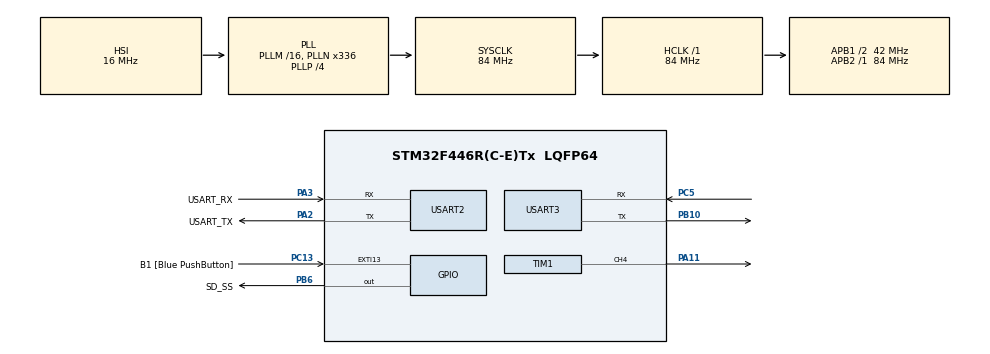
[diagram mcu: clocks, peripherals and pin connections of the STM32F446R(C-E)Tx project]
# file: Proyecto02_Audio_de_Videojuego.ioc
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Mcu.Family=STM32F4
Mcu.Name=STM32F446R(C-E)Tx
Mcu.Package=LQFP64
NVIC.PriorityGroup=NVIC_PRIORITYGROUP_0
NVIC.USART2_IRQn=true\:0\:0\:false\:false\:true\:true\:true\:true
NVIC.USART3_IRQn=true\:0\:0\:false\:false\:true\:true\:true\:true
PA11.Signal=S_TIM1_CH4
PA13.GPIO_Label=TMS
PA13.Mode=Serial_Wire
PA13.Signal=SYS_JTMS-SWDIO
PA14.GPIO_Label=TCK
PA14.Mode=Serial_Wire
PA14.Signal=SYS_JTCK-SWCLK
PA2.GPIO_Label=USART_TX
PA2.Mode=Asynchronous
PA2.Signal=USART2_TX
PA3.GPIO_Label=USART_RX
PA3.Mode=Asynchronous
PA3.Signal=USART2_RX
PB10.Mode=Asynchronous
PB10.Signal=USART3_TX
PB3.GPIO_Label=SWO
PB3.Signal=SYS_JTDO-SWO
PB6.GPIO_Label=SD_SS
PB6.GPIO_ModeDefaultOutputPP=GPIO_MODE_OUTPUT_PP
PB6.GPIO_Speed=GPIO_SPEED_FREQ_MEDIUM
PB6.PinState=GPIO_PIN_SET
PB6.Signal=GPIO_Output
PC13.GPIO_Label=B1 [Blue PushButton]
PC13.GPIO_ModeDefaultEXTI=GPIO_MODE_IT_FALLING
PC13.Signal=GPXTI13
PC14-OSC32_IN.Mode=LSE-External-Oscillator
PC14-OSC32_IN.Signal=RCC_OSC32_IN
PC15-OSC32_OUT.Mode=LSE-External-Oscillator
PC15-OSC32_OUT.Signal=RCC_OSC32_OUT
PC5.Mode=Asynchronous
PC5.Signal=USART3_RX
PH0-OSC_IN.Mode=HSE-External-Oscillator
PH0-OSC_IN.Signal=RCC_OSC_IN
PH1-OSC_OUT.Mode=HSE-External-Oscillator
PH1-OSC_OUT.Signal=RCC_OSC_OUT
ProjectManager.HeapSize=0x200
ProjectManager.StackSize=0x400
ProjectManager.TargetToolchain=STM32CubeIDE
RCC.48MHZClocksFreq_Value=84000000
RCC.AHBFreq_Value=84000000
RCC.APB1CLKDivider=RCC_HCLK_DIV2
RCC.APB1Freq_Value=42000000
RCC.APB1TimFreq_Value=84000000
RCC.APB2Freq_Value=84000000
RCC.APB2TimFreq_Value=84000000
RCC.CortexFreq_Value=84000000
RCC.FLatency-AdvancedSettings=FLASH_LATENCY_2
RCC.HCLKFreq_Value=84000000
RCC.HSE_VALUE=8000000
RCC.HSI_VALUE=16000000
RCC.PLLN=336
RCC.PLLP=RCC_PLLP_DIV4
RCC.SYSCLKFreq_VALUE=84000000
RCC.SYSCLKSource=RCC_SYSCLKSOURCE_PLLCLK
RCC.USBFreq_Value=168000000
RCC.VCOOutputFreq_Value=336000000
SH.S_TIM1_CH4.0=TIM1_CH4,PWM Generation4 CH4
TIM1.Channel-PWM\ Generation4\ CH4=TIM_CHANNEL_4
TIM1.Period=100-1
TIM1.Pulse-PWM\ Generation4\ CH4=50
USART2.VirtualMode=VM_ASYNC
USART3.VirtualMode=VM_ASYNC
VP_TIM1_VS_ClockSourceINT.Mode=Internal
board=NUCLEO-F446RE

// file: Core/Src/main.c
/* USER CODE BEGIN Header */
/**
  ******************************************************************************
  * @file           : main.c
  * @brief          : Main program body
  ******************************************************************************
  * @attention
  *
  * Copyright (c) 2026 STMicroelectronics.
  * All rights reserved.
  *
  * This software is licensed under terms that can be found in the LICENSE file
  * in the root directory of this software component.
  * If no LICENSE file comes with this software, it is provided AS-IS.
  *
  ******************************************************************************
  */
/* USER CODE END Header */
#include "main.h"

/* USER CODE BEGIN Includes */
#include "pitchesPRE.h"
#include <stdio.h>
#include "string.h"

/* USER CODE END Includes */

/* USER CODE BEGIN PD */
#define TIM_FREQ 84000000
#define ARR_pwm 100

/* USER CODE END PD */

TIM_HandleTypeDef htim1;

UART_HandleTypeDef huart2;
UART_HandleTypeDef huart3;

/* USER CODE BEGIN PV */
int level_intro[] = {
		NOTE_C4, NOTE_D4, NOTE_DS4, NOTE_C4,
		NOTE_G4, NOTE_FS4, NOTE_G4, NOTE_FS4,
		NOTE_G4, NOTE_FS4, NOTE_G4, NOTE_FS4, NOTE_G4
};

int level_intro_dur[] = {
		500, 250, 350, 400,
		100, 100, 100, 100,
		100, 100, 100, 100, 500
};

int hammer_time[] = {
		NOTE_AS4, 0, NOTE_AS4, 0, NOTE_AS4, 0, NOTE_AS4, 0, NOTE_AS4, 0,
		NOTE_D5, NOTE_AS4, NOTE_D5, NOTE_AS4, 0,

		NOTE_D5, 0, NOTE_D5, 0, NOTE_D5, 0, NOTE_D5, 0, NOTE_D5, 0,
		NOTE_F5, NOTE_D5, NOTE_F5, NOTE_D5, 0
};

int hammer_time_dur[] = {
		150, 5, 110, 5, 110, 5, 110, 5, 110, 5,
		125, 125, 125, 125, 5,

		150, 5, 110, 5, 110, 5, 110, 5, 110, 5,
		125, 125, 125, 125, 10
};

int level_one[] = {
		NOTE_AS3, NOTE_D4, NOTE_F4, NOTE_G4, NOTE_F4
};

int level_one_dur[] = {
		500, 400, 200, 200, 200
};

int level_two[] = {
		NOTE_D2, 0, NOTE_D2, 0, NOTE_D2, 0
};

int level_two_dur[] = {
		100, 50, 100, 50, 100, 100
};

int level_three[] = {
		NOTE_AS5, 0, NOTE_DS5, 0, NOTE_AS4, 0
};

int level_three_dur[] = {
		150, 100, 150, 100, 150, 100
};

int level_four[] = {
		NOTE_AS1, 0, NOTE_F1, 0, NOTE_F1, 0
};

int level_four_dur[] = {
		100, 50, 50, 25, 50, 25, 50
};

int game_win[] = {
		NOTE_E4, NOTE_GS4, NOTE_B4, NOTE_CS5, NOTE_C5, NOTE_CS5,
		NOTE_GS4, NOTE_G5, NOTE_F5, NOTE_D5, NOTE_C5, 0, NOTE_C5, NOTE_F5,
		NOTE_CS5, NOTE_D5, NOTE_AS4
};

int game_win_dur[] = {
		300, 300, 300, 150, 150, 300,
		100, 250, 100, 300, 100, 50, 100, 300,
		100, 100, 500
};

int level_stats[] = {
		NOTE_C4, NOTE_D4, NOTE_F4, NOTE_D4, NOTE_C4, NOTE_D4, NOTE_AS3, NOTE_AS4
};

int level_stats_dur[] = {
		500, 500, 500, 350, 350, 350, 1000, 900
};

int mario_dead[] = {
		NOTE_B5, NOTE_AS5, NOTE_B5, NOTE_AS5,
		NOTE_A5, NOTE_GS5, NOTE_A5, NOTE_GS5,
		NOTE_G5, NOTE_FS5, NOTE_G5, NOTE_FS5,
		NOTE_F5, NOTE_E5, NOTE_F5, NOTE_E5, 0,
		NOTE_D5, NOTE_F5, NOTE_A4, NOTE_AS4
};

int mario_dead_dur[] = {
		50, 50, 50, 50,
		50, 50, 50, 50,
		50, 50, 50, 50,
		50, 50, 50, 50, 50,
		100, 150, 150, 500
};

int level_win[] = {
		NOTE_E5, NOTE_F5, NOTE_G5, 0, NOTE_E5, 0,
		NOTE_E5, NOTE_F5, NOTE_G5, 0, NOTE_E5,
};

int level_win_dur[] = {
		100, 100, 100, 50, 150, 100,
		100, 100, 100, 50, 150, 100,
};

uint8_t menu = 1;
volatile uint8_t intro = 0;
volatile uint8_t ctrl_state1;
volatile uint8_t ctrl_cmd2;
 uint8_t rx_data1;
 uint8_t rx_data2;

/* USER CODE END PV */

void SystemClock_Config(void);
static void MX_GPIO_Init(void);
static void MX_USART2_UART_Init(void);
static void MX_TIM1_Init(void);
static void MX_USART3_UART_Init(void);
/* USER CODE BEGIN PFP */
int presForFrequency(int frequency);
void playTone(int *tone, int *duration, int *pause, int size);
void playTonePRE(int *tone, int *duration, int *pause, int size);
void noTone(void);
/* USER CODE END PFP */

/* USER CODE BEGIN 0 */
int presForFrequency(int frequency)
{
	if (frequency == 0)
	{
		return 0;
	}
	return ((TIM_FREQ / (ARR_pwm * frequency)) -1 );
}

void playTone(int *tone, int *duration, int *pause, int size)
{
	for (int i = 0; i < size; i++)
	{
		int prescaler = presForFrequency(tone[i]); // Calcular el prescaler
		int dur = duration[i]; // Obtener la duración
		int pauseBetweenTones = 0;
		if (pause != NULL)
		{
			pauseBetweenTones = pause[i] - duration[i];
		}

		__HAL_TIM_SET_PRESCALER(&htim1, prescaler);
		HAL_Delay(dur); // Duración de la nota
		noTone(); // Pausa
		HAL_Delay(pauseBetweenTones); // Duración sin tono
	}
}

void playTonePRE(int *tone, int *duration, int *pause, int size)
{
    for (int i = 0; i < size; i++)
    {
        int prescaler = tone[i];
        int dur = duration[i];
        int pauseBetweenTones = 0;

        if (pause != NULL)
        {
            pauseBetweenTones = pause[i] - duration[i];
            if (pauseBetweenTones < 0)
            {
                pauseBetweenTones = 0;
            }
        }

        __HAL_TIM_SET_PRESCALER(&htim1, prescaler);
        __HAL_TIM_SET_COUNTER(&htim1, 0);
        __HAL_TIM_SET_COMPARE(&htim1, TIM_CHANNEL_4, 50);  // activar PWM

        HAL_Delay(dur);

        noTone();  // apagar PWM
        HAL_Delay(pauseBetweenTones);
    }
}

void noTone(void)
{
    __HAL_TIM_SET_COMPARE(&htim1, TIM_CHANNEL_4, 0);
}

/* USER CODE END 0 */

int main(void)
{

  /* MCU Configuration--------------------------------------------------------*/

  /* Reset of all peripherals, Initializes the Flash interface and the Systick. */
  HAL_Init();

  /* Configure the system clock */
  SystemClock_Config();

  /* Initialize all configured peripherals */
  MX_GPIO_Init();
  MX_USART2_UART_Init();
  MX_TIM1_Init();
  MX_USART3_UART_Init();
  /* USER CODE BEGIN 2 */
  HAL_TIM_PWM_Start(&htim1, TIM_CHANNEL_4);
  HAL_UART_Receive_IT(&huart3, &rx_data1, 1);
  HAL_UART_Receive_IT(&huart2, &rx_data2, 1);
  noTone();

  /* USER CODE END 2 */

  /* Infinite loop */
  /* USER CODE BEGIN WHILE */
  while (1)
  {
	  switch (ctrl_state1)
	  	  {
	  	  case '1':
	  		  if (intro == 1)
	  		  {
	  			  playTonePRE(level_intro, level_intro_dur, NULL, (sizeof(level_intro)/sizeof(level_intro[0])));
	  			  noTone();
	  			  intro = 0;
	  		  }
	  		  playTonePRE(level_one, level_one_dur, NULL, (sizeof(level_one)/sizeof(level_one[0])));
	  		  break;

	  	  case '2':
	  		  if (intro == 1)
	  		  {
	  			  playTonePRE(level_intro, level_intro_dur, NULL, (sizeof(level_intro)/sizeof(level_intro[0])));
	  			  noTone();
	  			  intro = 0;
	  		  }
	  		  playTonePRE(level_two, level_two_dur, NULL, (sizeof(level_two)/sizeof(level_two[0])));
	  		  break;

	  	  case '3':
	  		  if (intro == 1)
	  		  {
	  			  playTonePRE(level_intro, level_intro_dur, NULL, (sizeof(level_intro)/sizeof(level_intro[0])));
	  			  noTone();
	  			  intro = 0;
	  		  }
	  		  playTonePRE(level_three, level_three_dur, NULL, (sizeof(level_three)/sizeof(level_three[0])));
	  		  break;

	  	  case '4':
	  		  if (intro == 1)
	  		  {
	  			  playTonePRE(level_intro, level_intro_dur, NULL, (sizeof(level_intro)/sizeof(level_intro[0])));
	  			  noTone();
	  			  intro = 0;
	  		  }
	  		  playTonePRE(level_four, level_four_dur, NULL, (sizeof(level_four)/sizeof(level_four[0])));
	  		  break;

	  	  case 'M':
	  		  playTonePRE(level_stats, level_stats_dur, NULL, (sizeof(level_stats)/sizeof(level_stats[0])));
	  		break;

	  	  case 'D':
	  		  playTonePRE(mario_dead, mario_dead_dur, NULL, (sizeof(mario_dead)/sizeof(mario_dead[0])));
	  		break;

	  	  case 'V':
	  		playTonePRE(game_win, game_win_dur, NULL, (sizeof(game_win)/sizeof(game_win[0])));
	  		break;
	  	  }

	  if (ctrl_cmd2 == 's'){
		  playTonePRE(game_win, game_win_dur, NULL, (sizeof(game_win)/sizeof(game_win[0])));
	  }

    /* USER CODE END WHILE */

  }
}

void SystemClock_Config(void)
{
  RCC_OscInitTypeDef RCC_OscInitStruct = {0};
  RCC_ClkInitTypeDef RCC_ClkInitStruct = {0};

  /** Configure the main internal regulator output voltage
  */
  __HAL_RCC_PWR_CLK_ENABLE();
  __HAL_PWR_VOLTAGESCALING_CONFIG(PWR_REGULATOR_VOLTAGE_SCALE3);

  /** Initializes the RCC Oscillators according to the specified parameters
  * in the RCC_OscInitTypeDef structure.
  */
  RCC_OscInitStruct.OscillatorType = RCC_OSCILLATORTYPE_HSI;
  RCC_OscInitStruct.HSIState = RCC_HSI_ON;
  RCC_OscInitStruct.HSICalibrationValue = RCC_HSICALIBRATION_DEFAULT;
  RCC_OscInitStruct.PLL.PLLState = RCC_PLL_ON;
  RCC_OscInitStruct.PLL.PLLSource = RCC_PLLSOURCE_HSI;
  RCC_OscInitStruct.PLL.PLLM = 16;
  RCC_OscInitStruct.PLL.PLLN = 336;
  RCC_OscInitStruct.PLL.PLLP = RCC_PLLP_DIV4;
  RCC_OscInitStruct.PLL.PLLQ = 2;
  RCC_OscInitStruct.PLL.PLLR = 2;
  if (HAL_RCC_OscConfig(&RCC_OscInitStruct) != HAL_OK)
  {
    Error_Handler();
  }

  /** Initializes the CPU, AHB and APB buses clocks
  */
  RCC_ClkInitStruct.ClockType = RCC_CLOCKTYPE_HCLK|RCC_CLOCKTYPE_SYSCLK
                              |RCC_CLOCKTYPE_PCLK1|RCC_CLOCKTYPE_PCLK2;
  RCC_ClkInitStruct.SYSCLKSource = RCC_SYSCLKSOURCE_PLLCLK;
  RCC_ClkInitStruct.AHBCLKDivider = RCC_SYSCLK_DIV1;
  RCC_ClkInitStruct.APB1CLKDivider = RCC_HCLK_DIV2;
  RCC_ClkInitStruct.APB2CLKDivider = RCC_HCLK_DIV1;

  if (HAL_RCC_ClockConfig(&RCC_ClkInitStruct, FLASH_LATENCY_2) != HAL_OK)
  {
    Error_Handler();
  }
}

static void MX_TIM1_Init(void)
{

  TIM_ClockConfigTypeDef sClockSourceConfig = {0};
  TIM_MasterConfigTypeDef sMasterConfig = {0};
  TIM_OC_InitTypeDef sConfigOC = {0};
  TIM_BreakDeadTimeConfigTypeDef sBreakDeadTimeConfig = {0};

  htim1.Instance = TIM1;
  htim1.Init.Prescaler = 0;
  htim1.Init.CounterMode = TIM_COUNTERMODE_UP;
  htim1.Init.Period = 100-1;
  htim1.Init.ClockDivision = TIM_CLOCKDIVISION_DIV1;
  htim1.Init.RepetitionCounter = 0;
  htim1.Init.AutoReloadPreload = TIM_AUTORELOAD_PRELOAD_DISABLE;
  if (HAL_TIM_Base_Init(&htim1) != HAL_OK)
  {
    Error_Handler();
  }
  sClockSourceConfig.ClockSource = TIM_CLOCKSOURCE_INTERNAL;
  if (HAL_TIM_ConfigClockSource(&htim1, &sClockSourceConfig) != HAL_OK)
  {
    Error_Handler();
  }
  if (HAL_TIM_PWM_Init(&htim1) != HAL_OK)
  {
    Error_Handler();
  }
  sMasterConfig.MasterOutputTrigger = TIM_TRGO_RESET;
  sMasterConfig.MasterSlaveMode = TIM_MASTERSLAVEMODE_DISABLE;
  if (HAL_TIMEx_MasterConfigSynchronization(&htim1, &sMasterConfig) != HAL_OK)
  {
    Error_Handler();
  }
  sConfigOC.OCMode = TIM_OCMODE_PWM1;
  sConfigOC.Pulse = 50;
  sConfigOC.OCPolarity = TIM_OCPOLARITY_HIGH;
  sConfigOC.OCFastMode = TIM_OCFAST_DISABLE;
  sConfigOC.OCIdleState = TIM_OCIDLESTATE_RESET;
  sConfigOC.OCNIdleState = TIM_OCNIDLESTATE_RESET;
  if (HAL_TIM_PWM_ConfigChannel(&htim1, &sConfigOC, TIM_CHANNEL_4) != HAL_OK)
  {
    Error_Handler();
  }
  sBreakDeadTimeConfig.OffStateRunMode = TIM_OSSR_DISABLE;
  sBreakDeadTimeConfig.OffStateIDLEMode = TIM_OSSI_DISABLE;
  sBreakDeadTimeConfig.LockLevel = TIM_LOCKLEVEL_OFF;
  sBreakDeadTimeConfig.DeadTime = 0;
  sBreakDeadTimeConfig.BreakState = TIM_BREAK_DISABLE;
  sBreakDeadTimeConfig.BreakPolarity = TIM_BREAKPOLARITY_HIGH;
  sBreakDeadTimeConfig.AutomaticOutput = TIM_AUTOMATICOUTPUT_DISABLE;
  if (HAL_TIMEx_ConfigBreakDeadTime(&htim1, &sBreakDeadTimeConfig) != HAL_OK)
  {
    Error_Handler();
  }
  HAL_TIM_MspPostInit(&htim1);

}

static void MX_USART2_UART_Init(void)
{

  huart2.Instance = USART2;
  huart2.Init.BaudRate = 115200;
  huart2.Init.WordLength = UART_WORDLENGTH_8B;
  huart2.Init.StopBits = UART_STOPBITS_1;
  huart2.Init.Parity = UART_PARITY_NONE;
  huart2.Init.Mode = UART_MODE_TX_RX;
  huart2.Init.HwFlowCtl = UART_HWCONTROL_NONE;
  huart2.Init.OverSampling = UART_OVERSAMPLING_16;
  if (HAL_UART_Init(&huart2) != HAL_OK)
  {
    Error_Handler();
  }

}

static void MX_USART3_UART_Init(void)
{

  huart3.Instance = USART3;
  huart3.Init.BaudRate = 115200;
  huart3.Init.WordLength = UART_WORDLENGTH_8B;
  huart3.Init.StopBits = UART_STOPBITS_1;
  huart3.Init.Parity = UART_PARITY_NONE;
  huart3.Init.Mode = UART_MODE_TX_RX;
  huart3.Init.HwFlowCtl = UART_HWCONTROL_NONE;
  huart3.Init.OverSampling = UART_OVERSAMPLING_16;
  if (HAL_UART_Init(&huart3) != HAL_OK)
  {
    Error_Handler();
  }

}

static void MX_GPIO_Init(void)
{
  GPIO_InitTypeDef GPIO_InitStruct = {0};

  /* GPIO Ports Clock Enable */
  __HAL_RCC_GPIOC_CLK_ENABLE();
  __HAL_RCC_GPIOH_CLK_ENABLE();
  __HAL_RCC_GPIOA_CLK_ENABLE();
  __HAL_RCC_GPIOB_CLK_ENABLE();

  /*Configure GPIO pin Output Level */
  HAL_GPIO_WritePin(SD_SS_GPIO_Port, SD_SS_Pin, GPIO_PIN_SET);

  /*Configure GPIO pin : B1_Pin */
  GPIO_InitStruct.Pin = B1_Pin;
  GPIO_InitStruct.Mode = GPIO_MODE_IT_FALLING;
  GPIO_InitStruct.Pull = GPIO_NOPULL;
  HAL_GPIO_Init(B1_GPIO_Port, &GPIO_InitStruct);

  /*Configure GPIO pin : SD_SS_Pin */
  GPIO_InitStruct.Pin = SD_SS_Pin;
  GPIO_InitStruct.Mode = GPIO_MODE_OUTPUT_PP;
  GPIO_InitStruct.Pull = GPIO_NOPULL;
  GPIO_InitStruct.Speed = GPIO_SPEED_FREQ_MEDIUM;
  HAL_GPIO_Init(SD_SS_GPIO_Port, &GPIO_InitStruct);

}

/* USER CODE BEGIN 4 */
void HAL_UART_RxCpltCallback(UART_HandleTypeDef *huart)
{
	if (huart->Instance == USART3) // Control 1
	    {
	    	ctrl_state1 = rx_data1;
	    	intro = 1;

	        HAL_UART_Transmit(&huart2, &ctrl_state1, 1, 100);

	        HAL_UART_Receive_IT(&huart3, &rx_data1, 1);
	    }

    if (huart->Instance == USART2) // Terminal para pruebas
    {
    	ctrl_cmd2 = rx_data2;

        HAL_UART_Transmit(&huart2, &rx_data2, 1, 100);

        HAL_UART_Receive_IT(&huart2, &rx_data2, 1);
    }
}
/* USER CODE END 4 */

void Error_Handler(void)
{
  __disable_irq();
  while (1)
  {
  }
}
